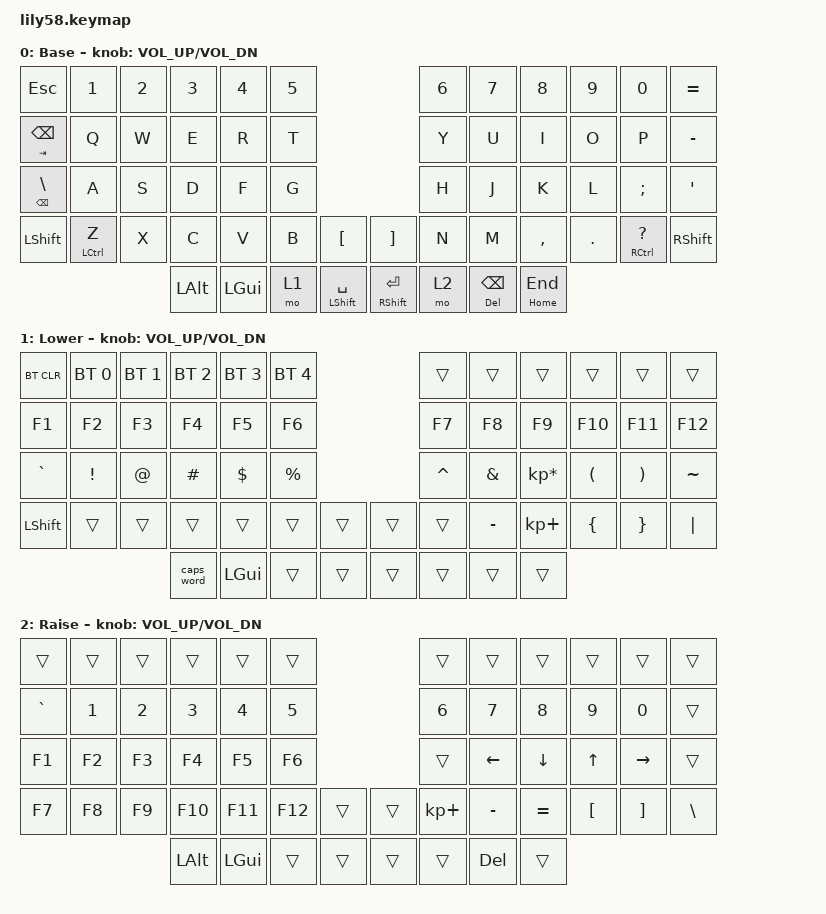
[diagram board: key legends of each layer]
/*
 * Copyright (c) 2020 The ZMK Contributors
 *
 * SPDX-License-Identifier: MIT
 */

#include <behaviors.dtsi>
#include <dt-bindings/zmk/bt.h>
#include <dt-bindings/zmk/keys.h>

/ {
    combos {
        compatible = "zmk,combos";

        ToGaming {
            bindings = <&tog 0>;
            key-positions = <52 55>;
        };
    };

    keymap {
        compatible = "zmk,keymap";

        default_layer {
            // ------------------------------------------------------------------------------------------------------------
            // |  ESC  |  1  |  2  |  3   |  4   |  5   |                   |  6   |  7    |  8    |  9   |   0   |   `   |
            // |  TAB  |  Q  |  W  |  E   |  R   |  T   |                   |  Y   |  U    |  I    |  O   |   P   |   -   |
            // |  CTRL |  A  |  S  |  D   |  F   |  G   |                   |  H   |  J    |  K    |  L   |   ;   |   '   |
            // | SHIFT |  Z  |  X  |  C   |  V   |  B   |   "["  |  |  "]"  |  N   |  M    |  ,    |  .   |   /   | SHIFT |
            //                     | ALT  | GUI  | LOWER|  SPACE |  | ENTER | RAISE| BSPC  | GUI   |

            display-name = "Base";
            bindings = <
&kp ESC                  &kp N1       &kp N2  &kp N3        &kp N4    &kp N5                                       &kp N6  &kp N7                &kp N8        &kp N9   &kp N0              &kp EQUAL
&mt TAB BACKSPACE        &kp Q        &kp W   &kp E         &kp R     &kp T                                        &kp Y   &kp U                 &kp I         &kp O    &kp P               &kp MINUS
&mt BACKSPACE BACKSLASH  &kp A        &kp S   &kp D         &kp F     &kp G                                        &kp H   &kp J                 &kp K         &kp L    &kp SEMICOLON       &kp SQT
&kp LSHFT                &mt LCTRL Z  &kp X   &kp C         &kp V     &kp B   &kp LBKT            &kp RBKT         &kp N   &kp M                 &kp COMMA     &kp DOT  &mt RCTRL QUESTION  &kp RSHIFT
                                              &kp LEFT_ALT  &kp LGUI  &mo 1   &mt LSHIFT SPACE    &mt RSHFT ENTER  &mo 2   &mt DELETE BACKSPACE  &mt HOME END
            >;

            sensor-bindings = <&inc_dec_kp C_VOL_UP C_VOL_DN>;
        };

        lower_layer {
            // ------------------------------------------------------------------------------------------------------------
            // | BTCLR | BT1 | BT2 |  BT3 |  BT4 |  BT5 |                   |      |       |       |      |       |       |
            // |  F1   |  F2 |  F3 |  F4  |  F5  |  F6  |                   |  F7  |  F8   |  F9   |  F10 |  F11  |  F12  |
            // |   `   |  !  |  @  |  #   |  $   |  %   |                   |  ^   |  &    |  *    |  (   |   )   |   ~   |
            // |       |     |     |      |      |      |        |  |       |      |  _    |  +    |  {   |   }   |  "|"  |
            //                     |      |      |      |        |  |       |      |       |       |

            display-name = "Lower";
            bindings = <
&bt BT_CLR      &bt BT_SEL 0  &bt BT_SEL 1  &bt BT_SEL 2  &bt BT_SEL 3  &bt BT_SEL 4                    &trans     &trans     &trans           &trans    &trans    &trans
&kp F1          &kp F2        &kp F3        &kp F4        &kp F5        &kp F6                          &kp F7     &kp F8     &kp F9           &kp F10   &kp F11   &kp F12
&kp GRAVE       &kp EXCL      &kp AT        &kp HASH      &kp DOLLAR    &kp PRCNT                       &kp CARET  &kp AMPS   &kp KP_MULTIPLY  &kp LPAR  &kp RPAR  &kp TILDE
&kp LEFT_SHIFT  &trans        &trans        &trans        &trans        &trans        &trans    &trans  &trans     &kp MINUS  &kp KP_PLUS      &kp LBRC  &kp RBRC  &kp PIPE
                                            &caps_word    &kp LGUI      &trans        &trans    &trans  &trans     &trans     &trans
            >;

            sensor-bindings = <&inc_dec_kp C_VOL_UP C_VOL_DN>;
        };

        raise_layer {
            // ------------------------------------------------------------------------------------------------------------
            // |       |     |     |      |      |      |                   |      |       |       |      |       |       |
            // |   `   |  1  |  2  |  3   |  4   |  5   |                   |  6   |   7   |   8   |  9   |   0   |       |
            // |   F1  |  F2 |  F3 |  F4  |  F5  |  F6  |                   |      |   <-  |   v   |  ^   |  ->   |       |
            // |   F7  |  F8 |  F9 |  F10 |  F11 |  F12 |        |  |       |  +   |   -   |   =   |  [   |   ]   |   \   |
            //                     |      |      |      |        |  |       |      |       |       |

            display-name = "Raise";
            bindings = <
&trans     &trans  &trans  &trans    &trans    &trans                     &trans       &trans      &trans     &trans    &trans     &trans
&kp GRAVE  &kp N1  &kp N2  &kp N3    &kp N4    &kp N5                     &kp N6       &kp N7      &kp N8     &kp N9    &kp N0     &trans
&kp F1     &kp F2  &kp F3  &kp F4    &kp F5    &kp F6                     &trans       &kp LEFT    &kp DOWN   &kp UP    &kp RIGHT  &trans
&kp F7     &kp F8  &kp F9  &kp F10   &kp F11   &kp F12  &trans    &trans  &kp KP_PLUS  &kp MINUS   &kp EQUAL  &kp LBKT  &kp RBKT   &kp BSLH
                           &kp LALT  &kp LGUI  &trans   &trans    &trans  &trans       &kp DELETE  &trans
            >;

            sensor-bindings = <&inc_dec_kp C_VOL_UP C_VOL_DN>;
        };
    };
};
